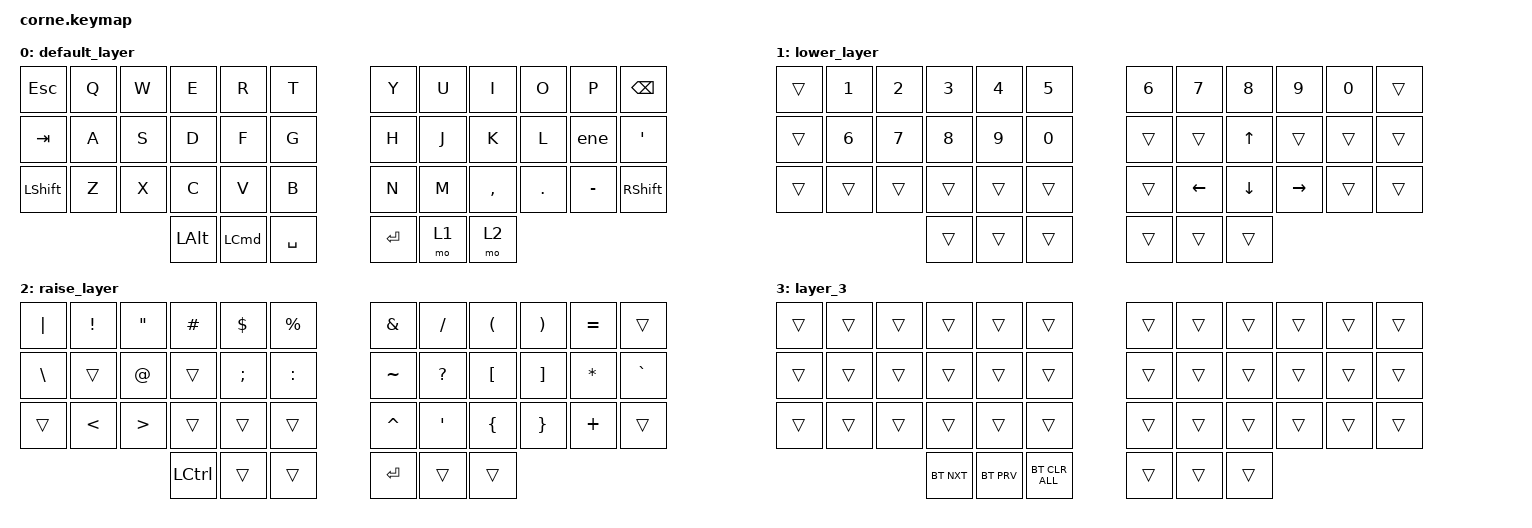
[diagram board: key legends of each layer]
/*
 * Copyright (c) 2020 The ZMK Contributors
 *
 * SPDX-License-Identifier: MIT
 */

#include <behaviors.dtsi>
#include <dt-bindings/zmk/bt.h>
#include <dt-bindings/zmk/keys.h>

/ {
    macros {
        ene: ene {
            compatible = "zmk,behavior-macro";
            #binding-cells = <0>;
            bindings = <&kp LA(N) &kp N>;
            label = "ENE";
        };
    };

    combos {
        compatible = "zmk,combos";

        gff {
            bindings = <&mo 3>;
            key-positions = <41 40>;
        };
    };

    keymap {
        compatible = "zmk,keymap";

        default_layer {
            // -----------------------------------------------------------------------------------------
            // |  TAB |  Q  |  W  |  E  |  R  |  T  |   |  Y  |  U   |  I  |  O  |  P  | BKSP |
            // | CTRL |  A  |  S  |  D  |  F  |  G  |   |  H  |  J   |  K  |  L  |  ;  |  '   |
            // | SHFT |  Z  |  X  |  C  |  V  |  B  |   |  N  |  M   |  ,  |  .  |  /  | ESC  |
            //                    | GUI | LWR | SPC |   | ENT | RSE  | ALT |

            bindings = <
&kp ESCAPE  &kp Q  &kp W  &kp E         &kp R             &kp T        &kp Y    &kp U  &kp I      &kp O    &kp P      &kp BSPC
&kp TAB     &kp A  &kp S  &kp D         &kp F             &kp G        &kp H    &kp J  &kp K      &kp L    &ene       &kp SQT
&kp LSHFT   &kp Z  &kp X  &kp C         &kp V             &kp B        &kp N    &kp M  &kp COMMA  &kp DOT  &kp MINUS  &kp RIGHT_SHIFT
                          &kp LEFT_ALT  &kp LEFT_COMMAND  &kp SPACE    &kp RET  &mo 1  &mo 2
            >;
        };

        lower_layer {
            // -----------------------------------------------------------------------------------------
            // |  TAB |  1  |  2  |  3  |  4  |  5  |   |  6  |  7  |  8  |  9  |  0  | BKSP |
            // | BTCLR| BT1 | BT2 | BT3 | BT4 | BT5 |   | LFT | DWN |  UP | RGT |     |      |
            // | SHFT |     |     |     |     |     |   |     |     |     |     |     |      |
            //                    | GUI |     | SPC |   | ENT |     | ALT |

            bindings = <
&trans  &kp N1  &kp N2  &kp N3  &kp N4  &kp N5    &kp N6  &kp N7          &kp N8          &kp N9           &kp N0  &trans
&trans  &kp N6  &kp N7  &kp N8  &kp N9  &kp N0    &trans  &trans          &kp UP_ARROW    &trans           &trans  &trans
&trans  &trans  &trans  &trans  &trans  &trans    &trans  &kp LEFT_ARROW  &kp DOWN_ARROW  &kp RIGHT_ARROW  &trans  &trans
                        &trans  &trans  &trans    &trans  &trans          &trans
            >;
        };

        raise_layer {
            // -----------------------------------------------------------------------------------------
            // |  TAB |  !  |  @  |  #  |  $  |  %  |   |  ^  |  &  |  *  |  (  |  )  | BKSP |
            // | CTRL |     |     |     |     |     |   |  -  |  =  |  [  |  ]  |  \  |  `   |
            // | SHFT |     |     |     |     |     |   |  _  |  +  |  {  |  }  | "|" |  ~   |
            //                    | GUI |     | SPC |   | ENT |     | ALT |

            bindings = <
&kp PIPE       &kp EXCLAMATION  &kp DOUBLE_QUOTES  &kp HASH          &kp DLLR  &kp PRCNT    &kp AMPS   &kp SLASH         &kp LEFT_PARENTHESIS  &kp RIGHT_PARENTHESIS  &kp EQUAL  &trans
&kp BACKSLASH  &trans           &kp AT             &trans            &kp SEMI  &kp COLON    &kp TILDE  &kp QUESTION      &kp LEFT_BRACKET      &kp RIGHT_BRACKET      &kp ASTRK  &kp GRAVE
&trans         &kp LESS_THAN    &kp GREATER_THAN   &trans            &trans    &trans       &kp CARET  &kp SINGLE_QUOTE  &kp LEFT_BRACE        &kp RIGHT_BRACE        &kp PLUS   &trans
                                                   &kp LEFT_CONTROL  &trans    &trans       &kp RET    &trans            &trans
            >;
        };

        layer_3 {
            bindings = <
&trans  &trans  &trans  &trans      &trans      &trans            &trans  &trans  &trans  &trans  &trans  &trans
&trans  &trans  &trans  &trans      &trans      &trans            &trans  &trans  &trans  &trans  &trans  &trans
&trans  &trans  &trans  &trans      &trans      &trans            &trans  &trans  &trans  &trans  &trans  &trans
                        &bt BT_NXT  &bt BT_PRV  &bt BT_CLR_ALL    &trans  &trans  &trans
            >;
        };
    };
};
